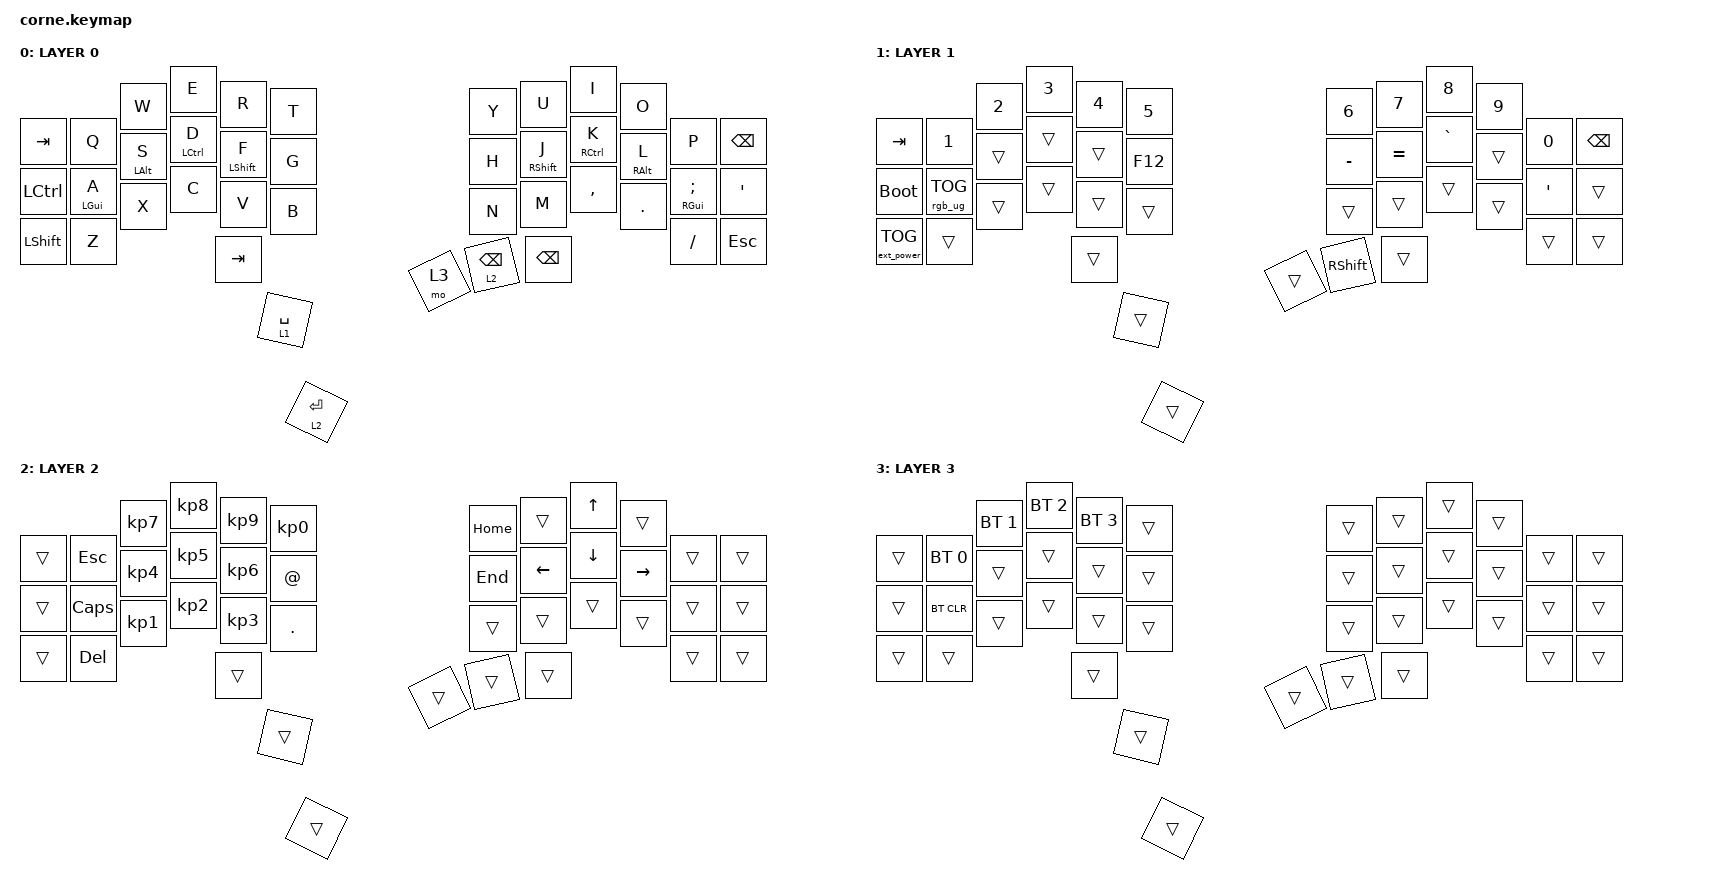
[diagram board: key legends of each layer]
/*
 * Copyright (c) 2020 The ZMK Contributors
 *
 * SPDX-License-Identifier: MIT
 */

#include <behaviors.dtsi>
#include <dt-bindings/zmk/bt.h>
#include <dt-bindings/zmk/keys.h>
#include <dt-bindings/zmk/rgb.h>
#include <dt-bindings/zmk/ext_power.h>
/ {
    behaviors {
        hm: homerow_mods {
            compatible = "zmk,behavior-hold-tap";
            label = "HOMEROW_MODS";
            #binding-cells = <2>;
            tapping-term-ms = <200>;
            quick_tap_ms = <0>;
            flavor = "tap-preferred";
            bindings = <&kp>, <&kp>;

            quick-tap-ms = <180>;
            global-quick-tap;
        };

        ltq: ltq {
            compatible = "zmk,behavior-hold-tap";
            label = "LTQ";
            bindings = <&mo>, <&kp>;

            #binding-cells = <2>;
            tapping-term-ms = <600>;
            global-quick-tap;
            quick-tap-ms = <400>;
        };
    };

    combos {
        compatible = "zmk,combos";

        left_bkt {
            bindings = <&kp LEFT_BRACKET>;
            key-positions = <4 3>;
            timeout-ms = <50>;
        };

        right_bkt {
            bindings = <&kp RBKT>;
            key-positions = <7 8>;
            timeout-ms = <50>;
        };

        left_par {
            bindings = <&kp LEFT_PARENTHESIS>;
            key-positions = <15 16>;
            timeout-ms = <50>;
        };

        right_par {
            bindings = <&kp RIGHT_PARENTHESIS>;
            key-positions = <19 20>;
            timeout-ms = <50>;
        };

        left_brace {
            bindings = <&kp LEFT_BRACE>;
            key-positions = <27 28>;
            timeout-ms = <50>;
        };

        right_brace {
            bindings = <&kp RIGHT_BRACE>;
            key-positions = <32 31>;
            timeout-ms = <50>;
        };

        bac {
            bindings = <&kp BACKSLASH>;
            key-positions = <5 6>;
        };

        pipe {
            bindings = <&kp PIPE>;
            key-positions = <17 18>;
        };
    };

    keymap {
        compatible = "zmk,keymap";

        default_layer {
            bindings = <
&kp TAB    &kp Q           &kp W           &kp E        &kp R             &kp T        &kp Y  &kp U             &kp I          &kp O            &kp P               &kp BSPC
&kp LCTRL  &hm LEFT_GUI A  &hm LEFT_ALT S  &hm LCTRL D  &hm LEFT_SHIFT F  &kp G        &kp H  &hm RSHIFT J      &hm RCTRL K    &hm RIGHT_ALT L  &hm RGUI SEMICOLON  &kp SQT
&kp LSHFT  &kp Z           &kp X           &kp C        &kp V             &kp B        &kp N  &kp M             &kp COMMA      &kp DOT          &kp FSLH            &kp ESC
                                           &kp TAB      &lt 1 SPACE       &lt 2 ENTER  &mo 3  &ltq 2 BACKSPACE  &kp BACKSPACE
            >;
            display-name = "LAYER 0";
        };

        lower_layer {
            bindings = <
&kp TAB      &kp N1  &kp N2  &kp N3  &kp N4  &kp N5   &kp N6     &kp N7           &kp N8     &kp N9  &kp N0   &kp BSPC
&bootloader  &rgb_ug RGB_TOG  &trans  &trans  &trans  &kp F12  &kp MINUS  &kp EQUAL        &kp GRAVE  &trans  &kp SQT  &trans
&ext_power EP_TOG       &trans  &trans  &trans  &trans  &trans   &trans     &trans           &trans     &trans  &trans   &trans
                             &trans  &trans  &trans   &trans     &kp RIGHT_SHIFT  &trans
            >;
            display-name = "LAYER 1";
        };

        raise_layer {
            bindings = <
&trans  &kp ESC     &kp KP_NUMBER_7  &kp KP_NUMBER_8  &kp KP_NUMBER_9  &kp KP_NUMBER_0  &kp HOME  &trans    &kp UP    &trans     &trans  &trans
&trans  &kp CAPS    &kp KP_NUMBER_4  &kp KP_NUMBER_5  &kp KP_NUMBER_6  &kp AT           &kp END   &kp LEFT  &kp DOWN  &kp RIGHT  &trans  &trans
&trans  &kp DELETE  &kp KP_NUMBER_1  &kp KP_NUMBER_2  &kp KP_NUMBER_3  &kp DOT          &trans    &trans    &trans    &trans     &trans  &trans
                                     &trans           &trans           &trans           &trans    &trans    &trans
            >;
        display-name = "LAYER 2";
        };

        layer_3 {
            bindings = <
&trans  &bt BT_SEL 0  &bt BT_SEL 1  &bt BT_SEL 2  &bt BT_SEL 3  &trans  &trans  &trans  &trans  &trans  &trans  &trans
&trans  &bt BT_CLR    &trans        &trans        &trans        &trans  &trans  &trans  &trans  &trans  &trans  &trans
&trans  &trans        &trans        &trans        &trans        &trans  &trans  &trans  &trans  &trans  &trans  &trans
                                    &trans        &trans        &trans  &trans  &trans  &trans
            >;
        display-name = "LAYER 3";
        };
        extra1 {
            status = "reserved";
                display-name = "LAYER 4";
        };
        extra2 {
            status = "reserved";
                display-name = "LAYER 5";
        };
        extra3 {
            status = "reserved";
                display-name = "LAYER 6";
        };
        extra4 {
            status = "reserved";
                display-name = "LAYER 7";
        };

    };
};
